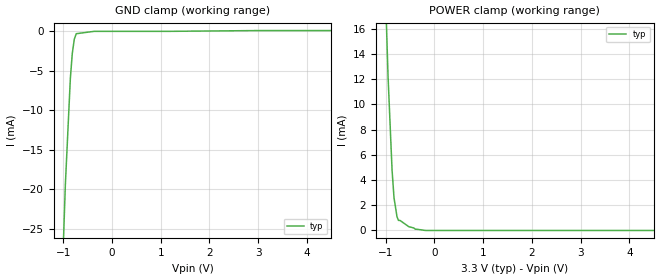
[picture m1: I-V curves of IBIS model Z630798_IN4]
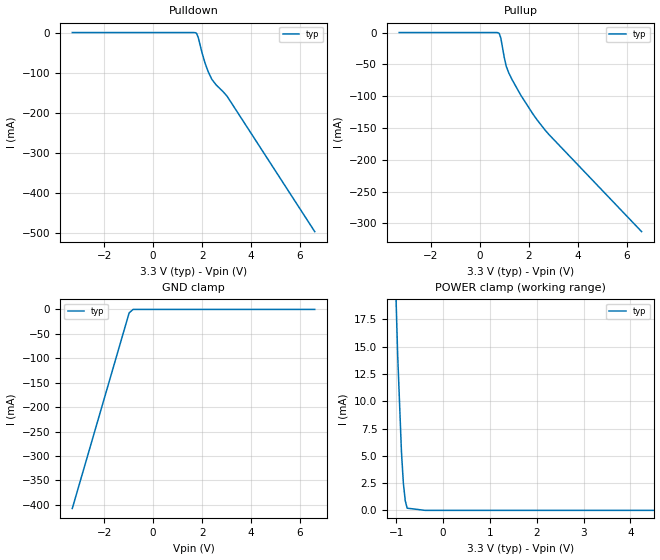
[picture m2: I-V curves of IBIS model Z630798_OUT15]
| YOU ARE ONLY AUTHORIZED TO USE THIS SOFTWARE
| ACCORDING TO LICENSOR'S LICENSE RESTRICTIONS.
[IBIS Ver] 3.1
[File Name] mc100ep17dt_33.ibs
[File Rev] 1
[Source] Derived from mc10ep57dt_-33.ibs Measured and created by ICX Technology
[Date] 2/02/2004
[Copyright]
| (C) COPYRIGHT 1993-2000
| MENTOR GRAPHICS CORPORATION
| ICX STANDARD LIBRARY, ICX PROJECT MODELING,
| ICX CUSTOM MODELING, ICX VENDOR MODEL
| ALL RIGHTS RESERVED.
| THE FOLLOWING ARE TRADEMARKS OR SERVICE MARKS OF
| MENTOR GRAPHICS CORPORATION:ICX (R), ICX STANDARD
| LIBRARY(R), ICX PROJECT MODELING(R), ICX CUSTOM
| MODELING(R), qualityIBIS(TM), MODELVIEWER(TM),
| AND MODELEDITOR(TM)
| ALL COPIES OF SOFTWARE, INCLUDING BUT NOT LIMITED TO
| ANY MODIFICATIONS, ENHANCEMENTS OR DERIVATIVE WORKS,
| MUST CONTAIN ALL MENTOR GRAPHICS CORPORATION'S
| NOTICES AND LEGENDS, INCLUDING THOSE EMBEDDED IN
| SOFTWARE AND THOSE AFFIXED TO SOFTWARE MEDIUM
| AND CONTAINER, AS RECEIVED FROM MENTOR GRAPHICS
| CORPORATION.
|  ZAP Model Builder 2.8
[Component] MC100EP17DT_33
[Manufacturer] ON
[Package]
| variable   typ   min   max
R_pkg  .18ohms NA NA
L_pkg  4.22nH NA NA
C_pkg  .41pF NA NA
[Pin] signal_name  model_name  R_pin  L_pin C_pin
1 VCC POWER .194 5.16n .43p
2 D0 Z630798_IN4 .185 4.57n .42p
3 _D0 Z630798_IN4 .185 4.57n .42p
4 D1 Z630798_IN4 .185 4.57n .42p
5 _D1 Z630798_IN4 .185 4.57n .42p
6 D2 Z630798_IN4 .185 4.57n .42p
7 _D2 Z630798_IN4 .185 4.57n .42p
8 D3 Z630798_IN4 .185 4.57n .42p
9 _D3 Z630798_IN4 .185 4.57n .42p
10 VBB POWER .177 3.98n .42p
11 VEE POWER .194 5.16n .43p
12 _Q3 Z630798_OUT15 .171 3.6n .37p
13 Q3 Z630798_OUT15 .171 3.6n .37p
14 _Q2 Z630798_OUT15 .171 3.6n .37p
15 Q2 Z630798_OUT15 .171 3.6n .37p
16 _Q1 Z630798_OUT15 .171 3.6n .37p
17 Q1 Z630798_OUT15 .171 3.6n .37p
18 _Q0 Z630798_OUT15 .171 3.6n .37p
19 Q0 Z630798_OUT15 .171 3.6n .37p
20 VCC POWER .194 5.16n .43p
[Diff Pin] inv_pin vdiff tdelay_typ tdelay_min tdelay_max
2 3 150mv NA NA NA
4 5 150mv NA NA NA
6 7 150mv NA NA NA
8 9 150mv NA NA NA
13 12 NA NA NA NA
15 14 NA NA NA NA
17 16 NA NA NA NA
19 18 NA NA NA NA
| Models and submodels in the file (2): Z630798_IN4 (Input_ECL), Z630798_OUT15 (Output_ECL)
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| (C) COPYRIGHT 1993-2000
| MENTOR GRAPHICS CORPORATION
| ICX STANDARD LIBRARY, ICX PROJECT MODELING,
| ICX CUSTOM MODELING, ICX VENDOR MODEL
| ALL RIGHTS RESERVED.
| THE FOLLOWING ARE TRADEMARKS OR SERVICE MARKS OF
| MENTOR GRAPHICS CORPORATION:ICX (R), ICX STANDARD
| LIBRARY(R), ICX PROJECT MODELING(R), ICX CUSTOM
| MODELING(R), qualityIBIS(TM), MODELVIEWER(TM),
| AND MODELEDITOR(TM)
| ALL COPIES OF SOFTWARE, INCLUDING BUT NOT LIMITED TO
| ANY MODIFICATIONS, ENHANCEMENTS OR DERIVATIVE WORKS,
| MUST CONTAIN ALL MENTOR GRAPHICS CORPORATION'S
| NOTICES AND LEGENDS, INCLUDING THOSE EMBEDDED IN
| SOFTWARE AND THOSE AFFIXED TO SOFTWARE MEDIUM
| AND CONTAINER, AS RECEIVED FROM MENTOR GRAPHICS
| CORPORATION.
| (C) COPYRIGHT 1993-2000
| MENTOR GRAPHICS CORPORATION
| ICX STANDARD LIBRARY, ICX PROJECT MODELING,
| ICX CUSTOM MODELING, ICX VENDOR MODEL
| ALL RIGHTS RESERVED.
| THE FOLLOWING ARE TRADEMARKS OR SERVICE MARKS OF
| MENTOR GRAPHICS CORPORATION:ICX (R), ICX STANDARD
| LIBRARY(R), ICX PROJECT MODELING(R), ICX CUSTOM
| MODELING(R), qualityIBIS(TM), MODELVIEWER(TM),
| AND MODELEDITOR(TM)
| ALL COPIES OF SOFTWARE, INCLUDING BUT NOT LIMITED TO
| ANY MODIFICATIONS, ENHANCEMENTS OR DERIVATIVE WORKS,
| MUST CONTAIN ALL MENTOR GRAPHICS CORPORATION'S
| NOTICES AND LEGENDS, INCLUDING THOSE EMBEDDED IN
| SOFTWARE AND THOSE AFFIXED TO SOFTWARE MEDIUM
| AND CONTAINER, AS RECEIVED FROM MENTOR GRAPHICS
| CORPORATION.
| Model Application Version 1.89 2/18/99.
[Model] Z630798_IN4
Model_type Input_ECL
Vinl = 1.755V
Vinh = 2.155V
C_comp 2.000pF NA NA
| variable typ   min   max
[Voltage Range] 3.300V NA NA
[GND Clamp Reference] 0.000V NA NA
[POWER Clamp Reference] 3.300V NA NA
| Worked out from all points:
|   GND clamp passes 1 mA (typ) near -0.77 V on its own axis
|   POWER clamp passes 1 mA (typ) near -0.76 V on its own axis
[GND Clamp]
-3.3V     -531.4mA   NA         NA
-1.078V   -41.5mA    NA         NA
-957mV    -19.4mA    NA         NA
-855mV    -6mA       NA         NA
-815mV    -2.8mA     NA         NA
-774mV    -1mA       NA         NA
-733mV    -300uA     NA         NA
-366.5mV  0A         NA         NA
1.182V    0A         NA         NA
3.037V    100uA      NA         NA
6.6V      100uA      NA         NA
[POWER Clamp]
-3.3V     369.6mA    NA         NA
-1.054V   24.8mA     NA         NA
-953mV    12.2mA     NA         NA
-871mV    4.8mA      NA         NA
-831mV    2.6mA      NA         NA
-770mV    1.1mA      NA         NA
-739.5mV  800uA      NA         NA
-709mV    800uA      NA         NA
-527mV    300uA      NA         NA
-395mV    100uA      NA         NA
-182.5mV  0A         NA         NA
6.6V      0A         NA         NA
| (C) COPYRIGHT 1993-2000
| MENTOR GRAPHICS CORPORATION
| ICX STANDARD LIBRARY, ICX PROJECT MODELING,
| ICX CUSTOM MODELING, ICX VENDOR MODEL
| ALL RIGHTS RESERVED.
| THE FOLLOWING ARE TRADEMARKS OR SERVICE MARKS OF
| MENTOR GRAPHICS CORPORATION:ICX (R), ICX STANDARD
| LIBRARY(R), ICX PROJECT MODELING(R), ICX CUSTOM
| MODELING(R), qualityIBIS(TM), MODELVIEWER(TM),
| AND MODELEDITOR(TM)
| ALL COPIES OF SOFTWARE, INCLUDING BUT NOT LIMITED TO
| ANY MODIFICATIONS, ENHANCEMENTS OR DERIVATIVE WORKS,
| MUST CONTAIN ALL MENTOR GRAPHICS CORPORATION'S
| NOTICES AND LEGENDS, INCLUDING THOSE EMBEDDED IN
| SOFTWARE AND THOSE AFFIXED TO SOFTWARE MEDIUM
| AND CONTAINER, AS RECEIVED FROM MENTOR GRAPHICS
| CORPORATION.
| Model Application Version 1.89 2/18/99.
[Model] Z630798_OUT15
Model_type Output_ECL
Vref=1.300V
Rref=50.00ohms
Cref=0.000F
Vmeas=1.955V
C_comp 2.000pF NA NA
| variable typ   min   max
[Voltage Range] 3.300V NA NA
[POWER Clamp Reference] 3.300V NA NA
[Pullup Reference] 3.300V NA NA
[Pulldown Reference] 3.300V NA NA
[GND Clamp Reference] 0.000V NA NA
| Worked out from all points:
|   GND clamp passes 1 mA (typ) near -0.84 V on its own axis
|   POWER clamp passes 1 mA (typ) near -0.81 V on its own axis
[GND Clamp]
-3.3V     -407.6mA   NA         NA
-977mV    -6.921mA   NA         NA
-814.2mV  0A         NA         NA
6.6V      0A         NA         NA
[Pulldown]
-3.3V     0A         NA         NA
1.642V    0A         NA         NA
1.763V    -1.7mA     NA         NA
1.844V    -12.6mA    NA         NA
2.007V    -52.6mA    NA         NA
2.128V    -77.5mA    NA         NA
2.25V     -97.7mA    NA         NA
2.392V    -116mA     NA         NA
2.574V    -130.6mA   NA         NA
3.02V     -158.7mA   NA         NA
6.6V      -496.4mA   NA         NA
[Pullup]
-3.3V     0A         NA         NA
770mV     -900uA     NA         NA
790mV     -1.8mA     NA         NA
851mV     -8.6mA     NA         NA
993mV     -39.5mA    NA         NA
1.074V    -53.2mA    NA         NA
1.175V    -63.4mA    NA         NA
1.317V    -74.5mA    NA         NA
1.662V    -98.2mA    NA         NA
2.331V    -137.3mA   NA         NA
2.797V    -159.6mA   NA         NA
6.6V      -313.1mA   NA         NA
[POWER Clamp]
-3.3V     428.9mA    NA         NA
-1.074V   29.3mA     NA         NA
-973mV    14.3mA     NA         NA
-892mV    5.4mA      NA         NA
-851mV    2.5mA      NA         NA
-811mV    900uA      NA         NA
-770mV    200uA      NA         NA
-385mV    0A         NA         NA
6.6V      0A         NA         NA
[Ramp]
| variable typ min max
dV/dt_r 527.3m/94.07p NA NA
dV/dt_f 527.3m/85.81p NA NA
R_load = 50.00Ohms
